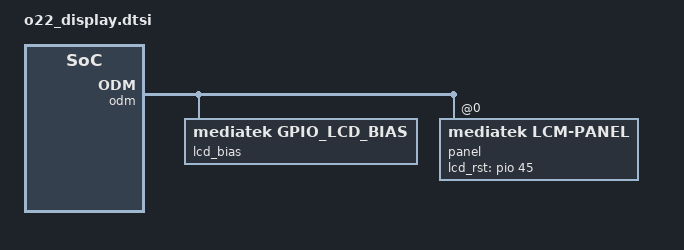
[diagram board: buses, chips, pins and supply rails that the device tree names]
&odm {
    lcd_bias:lcd_bias {
        compatible = "mediatek,gpio_lcd_bias";
    };
    panel: panel@0 {
        compatible = "mediatek,lcm-panel";
        gpio_lcd_rst = <&pio 45 0>;
        pinctrl-names = "tp_rst_low", "tp_rst_high";
        pinctrl-0 = <&tp_rst_low>;
        pinctrl-1 = <&tp_rst_high>;
    };

};

&lcd_bias {
    pinctrl-names = "default", "lcd_bias_gpio_enp0", "lcd_bias_gpio_enp1", "lcd_bias_gpio_enn0", "lcd_bias_gpio_enn1";
    pinctrl-0 = <&lcd_bias_pins_default>;
    pinctrl-1 = <&lcd_bias_pins_enp0>;
    pinctrl-2 = <&lcd_bias_pins_enp1>;
    pinctrl-3 = <&lcd_bias_pins_enn0>;
    pinctrl-4 = <&lcd_bias_pins_enn1>;
    status = "okay";
};

&pio {
    tp_rst_low: tp_rst_low {
        pins_cmd_dat {
            pinmux = <PINMUX_GPIO98__FUNC_GPIO98>;
            output-low;
        };
    };

    tp_rst_high: tp_rst_high {
        pins_cmd_dat {
            pinmux = <PINMUX_GPIO98__FUNC_GPIO98>;
            output-high;
        };
    };

    lcd_bias_pins_enp0: lcd_bias_pins_enp0 {
        pins_cmd_dat {
            pinmux = <PINMUX_GPIO169__FUNC_GPIO169>;
            slew-rate = <1>;
            output-low;
        };
    };

    lcd_bias_pins_enp1: lcd_bias_pins_enp1 {
        pins_cmd_dat {
            pinmux = <PINMUX_GPIO169__FUNC_GPIO169>;
            slew-rate = <1>;
            output-high;
        };
    };

    lcd_bias_pins_enn0: lcd_bias_pins_enn0 {
        pins_cmd_dat {
            pinmux = <PINMUX_GPIO165__FUNC_GPIO165>;
            slew-rate = <1>;
            output-low;
        };
    };

    lcd_bias_pins_enn1: lcd_bias_pins_enn1 {
        pins_cmd_dat {
            pinmux = <PINMUX_GPIO165__FUNC_GPIO165>;
            slew-rate = <1>;
            output-high;
        };
    };

    lcd_bias_pins_default: lcd_bias_pins_default {
    };
};
